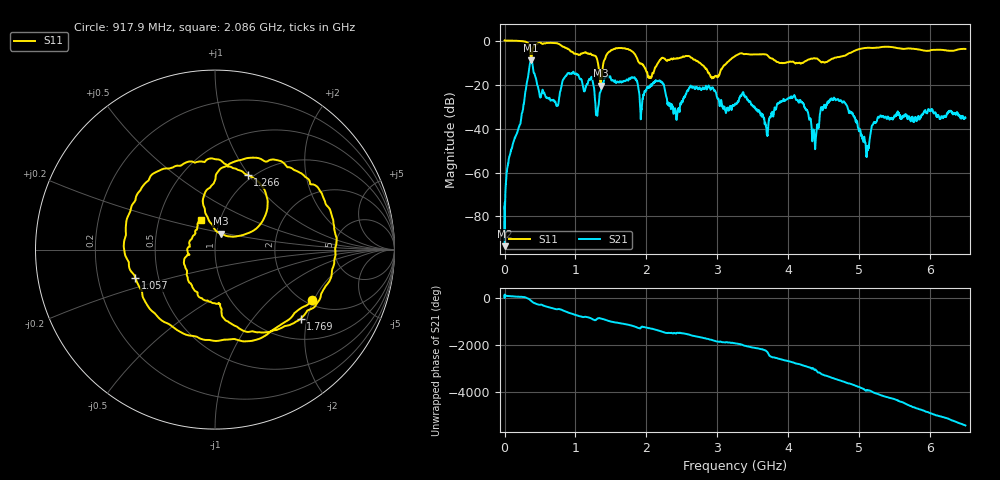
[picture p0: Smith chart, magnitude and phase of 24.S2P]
!Keysight Technologies,E5063A,MY54503115,A.05.08
!Date: Mon Dec 11 13:58:19 2023
!Data & Calibration Information:
!Freq	S11:NONE(--)	S21:NONE(--)	S12:NONE(--)	S22:NONE(--)
# Hz S dB R 50
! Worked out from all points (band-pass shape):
!   10001 points, 100 kHz to 6.5 GHz, reference 50 ohm
!   highest |S21| = -9.05 dB at 375.1 MHz (marker M1); lowest = -93.5 dB at 100 kHz (marker M2)
!   |S21| within 3 dB of the highest: 350.2 MHz to 399 MHz (48.76 MHz wide, 13 % of centre)
!   lowest |S11| = -20.5 dB at 1.355 GHz (marker M3), VSWR 1.21, Z = 52.4 + j9.38 ohm
!   |S11| at or under -10 dB: 1.895 GHz to 2.167 GHz (272 MHz wide, 13.4 % of centre); 2.748 GHz to 3.139 GHz (391 MHz wide, 13.3 % of centre); 3.869 GHz to 3.973 GHz (104.1 MHz wide, 2.65 % of centre) (the widest 3 of 7)
!   S12 and S22 are empty: the file has one direction only
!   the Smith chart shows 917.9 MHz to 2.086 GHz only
!   S11 on the Smith chart (normalised r, x): 917.9 MHz: 2.17, -1.95; 1.057 GHz: 0.37, -0.15; 1.266 GHz: 0.94, +0.99; 1.769 GHz: 1.48, -1.83; 2.086 GHz: 0.81, +0.28
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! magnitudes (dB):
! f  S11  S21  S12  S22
! 100 kHz  0.1  -93.5  -  -
! 375.1 MHz  -9.2  -9.0  -  -
! 730.7 MHz  -1.1  -29.7  -  -
! 917.9 MHz  -4.3  -15.0  -  -
! 1.057 GHz  -6.5  -17.2  -  -
! 1.084 GHz  -5.9  -17.7  -  -
! 1.266 GHz  -6.9  -22.7  -  -
! 1.355 GHz  -20.5  -22.8  -  -
! 1.769 GHz  -4.2  -17.5  -  -
! 1.933 GHz  -10.6  -31.2  -  -
! 2.086 GHz  -14.7  -19.6  -  -
! 2.167 GHz  -10.0  -18.4  -  -
! 2.41 GHz  -8.3  -31.8  -  -
! 2.638 GHz  -7.8  -21.1  -  -
! 3.25 GHz  -7.1  -29.0  -  -
! 3.697 GHz  -6.5  -42.1  -  -
! 4.071 GHz  -9.6  -25.4  -  -
! 4.334 GHz  -8.2  -41.5  -  -
! 4.722 GHz  -7.5  -27.5  -  -
! 5.115 GHz  -3.3  -49.5  -  -
! 5.417 GHz  -2.8  -35.1  -  -
! 6.5 GHz  -3.8  -35.1  -  -
